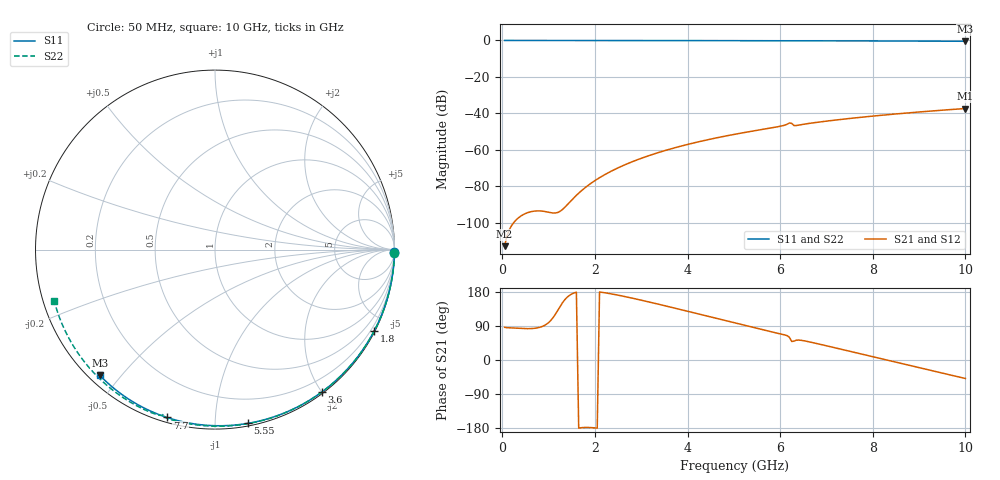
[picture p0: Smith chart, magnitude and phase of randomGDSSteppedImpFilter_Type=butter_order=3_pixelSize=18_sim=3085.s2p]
! freq	dB(S11)	phase(S11)	dB(S12)	phase(S12)
!  dB(S21)	phase(S21)	dB(S22)	phase(S22)
!S-par simulation data
#  GHz  S  DB  R 50
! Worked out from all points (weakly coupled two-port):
!   200 points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, 50 MHz to 10 GHz, reference 50 ohm
!   highest |S21| = -37.29 dB at 10 GHz (marker M1); lowest = -112.7 dB at 50 MHz (marker M2)
!   lowest |S11| = -0.4 dB at 10 GHz (marker M3), VSWR 38.93, Z = 1.53 - j22 ohm
!   |S11| at or under -10 dB: nowhere
!   |S22| runs from -0.5 to 0.0 dB; largest |S21 - S12| = 0
!   S11 on the Smith chart (normalised r, x): 50 MHz: open; 1.8 GHz: 0.04, -4.14; 3.6 GHz: 0.02, -2.00; 5.55 GHz: 0.02, -1.21; 7.7 GHz: 0.02, -0.75; 10 GHz: 0.03, -0.44
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0.05  -0.00 -0.8  -112.70 86.2  -112.70 86.2  -0.00 -1.0
0.85  -0.02 -13.0  -93.45 87.9  -93.45 87.9  -0.02 -16.1
1.75  -0.03 -26.4  -81.46 -178.2  -81.46 -178.2  -0.04 -32.7
1.8  -0.03 -27.2  -80.43 -178.0  -80.43 -178.0  -0.04 -33.6
1.85  -0.04 -27.9  -79.46 -178.0  -79.46 -178.0  -0.04 -34.5
2.2  -0.04 -33.1  -73.70 177.7  -73.70 177.7  -0.05 -40.9
2.5  -0.05 -37.4  -69.79 171.1  -69.79 171.1  -0.06 -46.2
2.9  -0.06 -43.2  -65.51 160.7  -65.51 160.7  -0.07 -53.3
3.4  -0.07 -50.3  -61.18 146.5  -61.18 146.5  -0.08 -61.9
3.6  -0.07 -53.1  -59.67 140.6  -59.67 140.6  -0.09 -65.3
4.3  -0.09 -62.8  -55.16 119.6  -55.16 119.6  -0.11 -77.0
5.05  -0.11 -72.8  -51.25 97.0  -51.25 97.0  -0.14 -89.0
5.55  -0.13 -79.3  -49.02 82.0  -49.02 82.0  -0.16 -96.9
6.05  -0.15 -85.7  -46.74 67.6  -46.74 67.6  -0.19 -104.7
6.2  -0.16 -87.6  -45.21 59.9  -45.21 59.9  -0.27 -107.3
6.25  -0.16 -88.2  -45.43 48.8  -45.43 48.8  -0.34 -107.4
6.3  -0.16 -88.9  -46.62 49.8  -46.62 49.8  -0.26 -107.8
6.7  -0.18 -93.8  -45.18 46.0  -45.18 46.0  -0.23 -114.1
7.7  -0.24 -105.9  -42.20 17.2  -42.20 17.2  -0.30 -128.8
8.35  -0.29 -113.6  -40.60 -1.6  -40.60 -1.6  -0.35 -138.2
9.2  -0.36 -123.4  -38.78 -26.0  -38.78 -26.0  -0.44 -150.4
10  -0.45 -132.5  -37.29 -48.8  -37.29 -48.8  -0.53 -162.2
